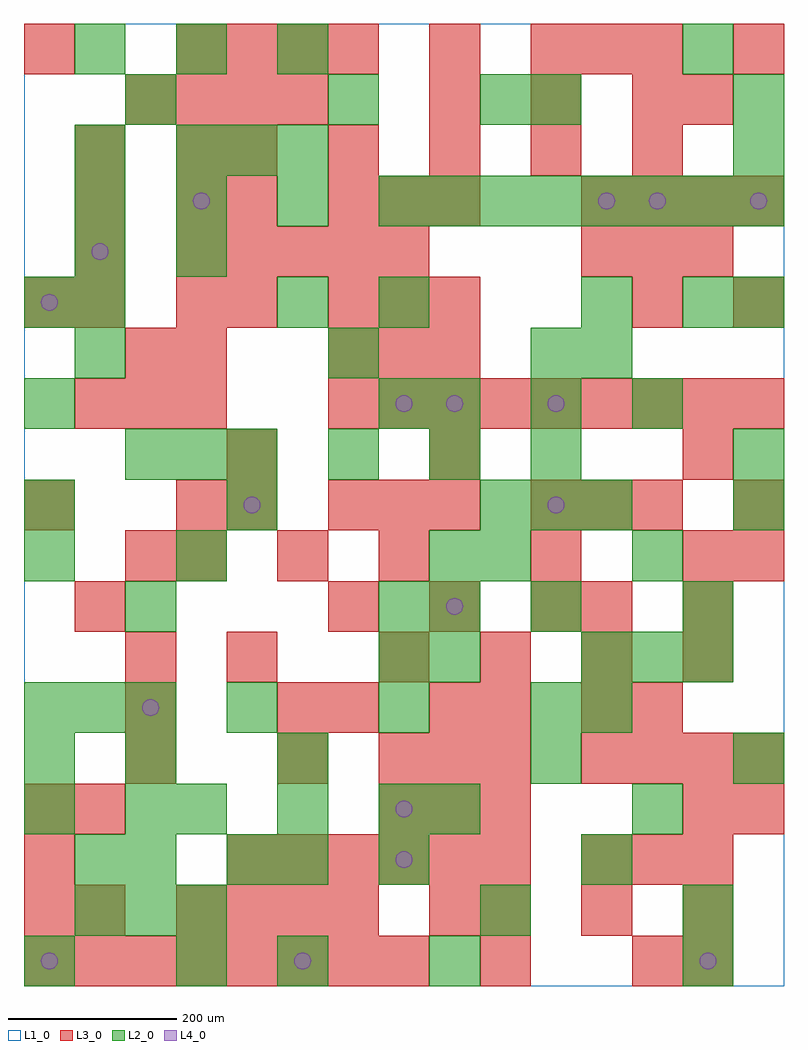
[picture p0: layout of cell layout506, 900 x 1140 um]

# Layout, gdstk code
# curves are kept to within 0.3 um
import gdstk
lib = gdstk.Library(unit=1e-6, precision=1e-09)
def R(c, l, rs):  # rectangles x0, y0, x1, y1
    for r in rs: c.add(gdstk.rectangle(r[:2], r[2:], *l))
def A(c, l, x, y, w, h, nx, ny, dx, dy):  # array of equal rectangles
    R(c, l, [(x+i*dx, y+j*dy, x+i*dx+w, y+j*dy+h) for i in range(nx) for j in range(ny)])
def P(c, l, *ps):  # polygons
    for p in ps: c.add(gdstk.Polygon(p, *l))
L1_0 = (1, 0)
L2_0 = (2, 0)
L3_0 = (3, 0)
L4_0 = (4, 0)

layout506 = lib.new_cell('layout506')
R(layout506, L1_0, [(0,0,900,1140)])
A(layout506, L2_0, 300, 0, 60, 60, 1, 3, 0, 120)
A(layout506, L2_0, 480, 0, 60, 60, 1, 3, 0, 180)
A(layout506, L2_0, 60, 60, 60, 60, 3, 1, 60, 0)
A(layout506, L2_0, 780, 60, 60, 60, 1, 3, 0, 360)
A(layout506, L2_0, 120, 120, 60, 60, 1, 3, 0, 60)
A(layout506, L2_0, 180, 180, 60, 60, 3, 1, 120, 0)
A(layout506, L2_0, 0, 300, 60, 60, 3, 1, 60, 0)
A(layout506, L2_0, 240, 300, 60, 60, 3, 1, 180, 0)
A(layout506, L2_0, 660, 360, 60, 60, 3, 1, 60, 0)
A(layout506, L2_0, 600, 420, 60, 60, 1, 3, 0, 300)
A(layout506, L2_0, 0, 540, 60, 60, 1, 3, 0, 120)
A(layout506, L2_0, 540, 540, 60, 60, 3, 1, 60, 0)
A(layout506, L2_0, 120, 600, 60, 60, 3, 1, 60, 0)
A(layout506, L2_0, 360, 600, 60, 60, 3, 1, 120, 0)
A(layout506, L2_0, 840, 600, 60, 60, 1, 3, 0, 180)
A(layout506, L2_0, 480, 660, 60, 60, 3, 1, 120, 0)
A(layout506, L2_0, 60, 720, 60, 60, 1, 3, 0, 60)
A(layout506, L2_0, 60, 900, 60, 60, 4, 1, 120, 0)
A(layout506, L2_0, 480, 900, 60, 60, 7, 1, 60, 0)
A(layout506, L2_0, 180, 960, 60, 60, 3, 1, 60, 0)
A(layout506, L2_0, 60, 1080, 60, 60, 3, 1, 120, 0)
R(layout506, L2_0, [(0,0,60,60), (180,0,240,60), (780,0,840,60), (540,60,600,120), (60,120,120,180), (240,120,300,180), (420,120,480,180), (660,120,720,180), (0,180,60,240), (720,180,780,240), (0,240,60,300), (600,240,660,300), (840,240,900,300), (660,300,720,360), (420,360,480,420), (120,420,180,480), (420,420,480,480), (480,420,540,480), (0,480,60,540), (180,480,240,540), (480,480,540,540), (540,480,600,540), (720,480,780,540), (240,540,300,600), (840,540,900,600), (420,660,480,720), (360,720,420,780), (660,720,720,780), (300,780,360,840), (420,780,480,840), (660,780,720,840), (180,840,240,900), (60,960,120,1020), (120,1020,180,1080), (360,1020,420,1080), (540,1020,600,1080), (840,1020,900,1080), (780,1080,840,1140)])
A(layout506, L3_0, 0, 0, 60, 60, 8, 1, 60, 0)
A(layout506, L3_0, 0, 60, 60, 60, 1, 3, 0, 60)
A(layout506, L3_0, 180, 60, 60, 60, 4, 2, 60, 1020)
A(layout506, L3_0, 540, 60, 60, 60, 3, 1, 120, 0)
A(layout506, L3_0, 240, 120, 60, 60, 6, 1, 60, 0)
A(layout506, L3_0, 660, 120, 60, 60, 3, 2, 60, 720)
A(layout506, L3_0, 420, 180, 60, 60, 3, 2, 60, 60)
A(layout506, L3_0, 120, 240, 60, 60, 1, 3, 0, 60)
A(layout506, L3_0, 660, 240, 60, 60, 4, 2, 60, 660)
A(layout506, L3_0, 420, 360, 60, 60, 4, 1, 120, 0)
A(layout506, L3_0, 360, 420, 60, 60, 3, 1, 120, 0)
A(layout506, L3_0, 180, 480, 60, 60, 3, 1, 120, 0)
A(layout506, L3_0, 360, 540, 60, 60, 3, 2, 60, 180)
A(layout506, L3_0, 600, 540, 60, 60, 3, 2, 60, 540)
A(layout506, L3_0, 60, 660, 60, 60, 3, 1, 60, 0)
A(layout506, L3_0, 360, 660, 60, 60, 9, 1, 60, 0)
A(layout506, L3_0, 60, 780, 60, 60, 1, 4, 0, 60)
A(layout506, L3_0, 360, 780, 60, 60, 3, 2, 60, 120)
A(layout506, L3_0, 180, 840, 60, 60, 5, 1, 60, 0)
A(layout506, L3_0, 240, 960, 60, 60, 5, 1, 120, 0)
A(layout506, L3_0, 120, 1020, 60, 60, 4, 1, 60, 0)
A(layout506, L3_0, 480, 1020, 60, 60, 3, 1, 120, 0)
R(layout506, L3_0, [(540,0,600,60), (720,0,780,60), (780,0,840,60), (60,60,120,120), (480,60,540,120), (60,180,120,240), (780,180,840,240), (840,180,900,240), (300,240,360,300), (300,300,360,360), (360,300,420,360), (480,300,540,360), (540,300,600,360), (660,300,720,360), (720,300,780,360), (240,360,300,420), (60,420,120,480), (660,420,720,480), (780,420,840,480), (120,480,180,540), (600,480,660,540), (780,480,840,540), (840,480,900,540), (0,540,60,600), (180,540,240,600), (240,540,300,600), (840,540,900,600), (240,600,300,660), (480,600,540,660), (780,600,840,660), (120,720,180,780), (180,720,240,780), (0,780,60,840), (180,780,240,840), (240,780,300,840), (720,780,780,840), (840,780,900,840), (180,900,240,960), (240,900,300,960), (180,960,240,1020), (780,1020,840,1080), (0,1080,60,1140), (480,1080,540,1140), (840,1080,900,1140)])
P(layout506, L4_0, [(40,30),(39.239,33.827),(37.071,37.071),(33.827,39.239),(30,40),(26.173,39.239),(22.929,37.071),(20.761,33.827),(20,30),(20.761,26.173),(22.929,22.929),(26.173,20.761),(30,20),(33.827,20.761),(37.071,22.929),(39.239,26.173)],
  [(40,810),(39.239,813.827),(37.071,817.071),(33.827,819.239),(30,820),(26.173,819.239),(22.929,817.071),(20.761,813.827),(20,810),(20.761,806.173),(22.929,802.929),(26.173,800.761),(30,800),(33.827,800.761),(37.071,802.929),(39.239,806.173)],
  [(100,870),(99.239,873.827),(97.071,877.071),(93.827,879.239),(90,880),(86.173,879.239),(82.929,877.071),(80.761,873.827),(80,870),(80.761,866.173),(82.929,862.929),(86.173,860.761),(90,860),(93.827,860.761),(97.071,862.929),(99.239,866.173)],
  [(160,330),(159.239,333.827),(157.071,337.071),(153.827,339.239),(150,340),(146.173,339.239),(142.929,337.071),(140.761,333.827),(140,330),(140.761,326.173),(142.929,322.929),(146.173,320.761),(150,320),(153.827,320.761),(157.071,322.929),(159.239,326.173)],
  [(220,930),(219.239,933.827),(217.071,937.071),(213.827,939.239),(210,940),(206.173,939.239),(202.929,937.071),(200.761,933.827),(200,930),(200.761,926.173),(202.929,922.929),(206.173,920.761),(210,920),(213.827,920.761),(217.071,922.929),(219.239,926.173)],
  [(280,570),(279.239,573.827),(277.071,577.071),(273.827,579.239),(270,580),(266.173,579.239),(262.929,577.071),(260.761,573.827),(260,570),(260.761,566.173),(262.929,562.929),(266.173,560.761),(270,560),(273.827,560.761),(277.071,562.929),(279.239,566.173)],
  [(340,30),(339.239,33.827),(337.071,37.071),(333.827,39.239),(330,40),(326.173,39.239),(322.929,37.071),(320.761,33.827),(320,30),(320.761,26.173),(322.929,22.929),(326.173,20.761),(330,20),(333.827,20.761),(337.071,22.929),(339.239,26.173)],
  [(460,150),(459.239,153.827),(457.071,157.071),(453.827,159.239),(450,160),(446.173,159.239),(442.929,157.071),(440.761,153.827),(440,150),(440.761,146.173),(442.929,142.929),(446.173,140.761),(450,140),(453.827,140.761),(457.071,142.929),(459.239,146.173)],
  [(460,210),(459.239,213.827),(457.071,217.071),(453.827,219.239),(450,220),(446.173,219.239),(442.929,217.071),(440.761,213.827),(440,210),(440.761,206.173),(442.929,202.929),(446.173,200.761),(450,200),(453.827,200.761),(457.071,202.929),(459.239,206.173)],
  [(460,690),(459.239,693.827),(457.071,697.071),(453.827,699.239),(450,700),(446.173,699.239),(442.929,697.071),(440.761,693.827),(440,690),(440.761,686.173),(442.929,682.929),(446.173,680.761),(450,680),(453.827,680.761),(457.071,682.929),(459.239,686.173)],
  [(520,450),(519.239,453.827),(517.071,457.071),(513.827,459.239),(510,460),(506.173,459.239),(502.929,457.071),(500.761,453.827),(500,450),(500.761,446.173),(502.929,442.929),(506.173,440.761),(510,440),(513.827,440.761),(517.071,442.929),(519.239,446.173)],
  [(520,690),(519.239,693.827),(517.071,697.071),(513.827,699.239),(510,700),(506.173,699.239),(502.929,697.071),(500.761,693.827),(500,690),(500.761,686.173),(502.929,682.929),(506.173,680.761),(510,680),(513.827,680.761),(517.071,682.929),(519.239,686.173)],
  [(640,570),(639.239,573.827),(637.071,577.071),(633.827,579.239),(630,580),(626.173,579.239),(622.929,577.071),(620.761,573.827),(620,570),(620.761,566.173),(622.929,562.929),(626.173,560.761),(630,560),(633.827,560.761),(637.071,562.929),(639.239,566.173)],
  [(640,690),(639.239,693.827),(637.071,697.071),(633.827,699.239),(630,700),(626.173,699.239),(622.929,697.071),(620.761,693.827),(620,690),(620.761,686.173),(622.929,682.929),(626.173,680.761),(630,680),(633.827,680.761),(637.071,682.929),(639.239,686.173)],
  [(700,930),(699.239,933.827),(697.071,937.071),(693.827,939.239),(690,940),(686.173,939.239),(682.929,937.071),(680.761,933.827),(680,930),(680.761,926.173),(682.929,922.929),(686.173,920.761),(690,920),(693.827,920.761),(697.071,922.929),(699.239,926.173)],
  [(760,930),(759.239,933.827),(757.071,937.071),(753.827,939.239),(750,940),(746.173,939.239),(742.929,937.071),(740.761,933.827),(740,930),(740.761,926.173),(742.929,922.929),(746.173,920.761),(750,920),(753.827,920.761),(757.071,922.929),(759.239,926.173)],
  [(820,30),(819.239,33.827),(817.071,37.071),(813.827,39.239),(810,40),(806.173,39.239),(802.929,37.071),(800.761,33.827),(800,30),(800.761,26.173),(802.929,22.929),(806.173,20.761),(810,20),(813.827,20.761),(817.071,22.929),(819.239,26.173)],
  [(880,930),(879.239,933.827),(877.071,937.071),(873.827,939.239),(870,940),(866.173,939.239),(862.929,937.071),(860.761,933.827),(860,930),(860.761,926.173),(862.929,922.929),(866.173,920.761),(870,920),(873.827,920.761),(877.071,922.929),(879.239,926.173)])

lib.write_gds('layout506.gds')
